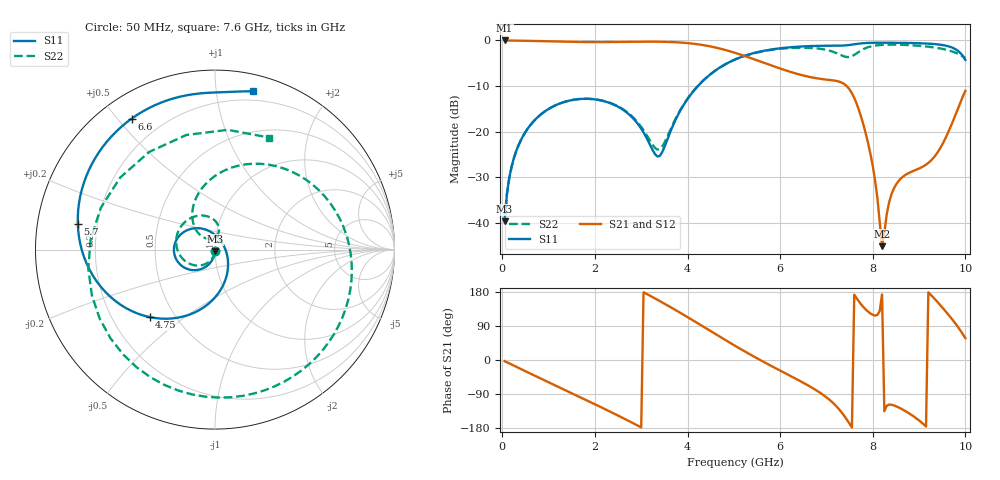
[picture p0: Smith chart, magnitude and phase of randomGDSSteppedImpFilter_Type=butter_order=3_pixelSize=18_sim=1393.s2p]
! freq	dB(S11)	phase(S11)	dB(S12)	phase(S12)
!  dB(S21)	phase(S21)	dB(S22)	phase(S22)
!S-par simulation data
#  GHz  S  DB  R 50
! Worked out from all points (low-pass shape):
!   200 points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, 50 MHz to 10 GHz, reference 50 ohm
!   highest |S21| = -0.01 dB at 50 MHz (marker M1); lowest = -45.2 dB at 8.2 GHz (marker M2)
!   |S21| within 3 dB of the highest: start of sweep to 5.114 GHz
!   lowest |S11| = -39.7 dB at 50 MHz (marker M3), VSWR 1.02, Z = 50 - j1.04 ohm
!   |S11| at or under -10 dB: start of sweep to 4.224 GHz
!   |S22| runs from -39.7 to -0.9 dB; largest |S21 - S12| = 0
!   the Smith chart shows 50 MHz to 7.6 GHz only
!   S11 on the Smith chart (normalised r, x): 50 MHz: 1.00, -0.02; 4.75 GHz: 0.36, -0.38; 5.7 GHz: 0.13, +0.09; 6.6 GHz: 0.09, +0.55; 7.6 GHz: 0.13, +1.26
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0.05  -39.69 -91.1  -0.01 -3.0  -0.01 -3.0  -39.69 -92.0
0.2  -27.74 -100.1  -0.03 -11.9  -0.03 -11.9  -27.76 -103.6
0.5  -20.09 -115.6  -0.08 -29.6  -0.08 -29.6  -20.11 -124.5
1.75  -12.82 -177.0  -0.36 -102.2  -0.36 -102.2  -12.81 151.3
2.7  -15.92 131.8  -0.31 -158.9  -0.31 -158.9  -15.78 90.6
3.4  -25.34 15.5  -0.29 155.6  -0.29 155.6  -23.87 110.7
4.1  -11.48 -90.0  -0.69 105.9  -0.69 105.9  -11.45 117.1
4.75  -5.62 -134.1  -1.92 57.6  -1.92 57.6  -5.63 66.2
5.05  -4.07 -152.9  -2.80 35.7  -2.80 35.7  -4.09 41.6
5.7  -2.18 169.2  -5.10 -8.7  -5.10 -8.7  -2.24 -9.1
6.6  -1.26 122.4  -7.94 -66.9  -7.94 -66.9  -1.63 -79.4
6.7  -1.22 117.5  -8.15 -74.0  -8.15 -74.0  -1.67 -88.7
7.05  -1.17 100.7  -8.66 -103.4  -8.66 -103.4  -2.20 -131.4
7.3  -1.15 89.5  -9.14 -134.0  -9.14 -134.0  -3.16 175.1
7.5  -1.00 81.0  -10.78 -168.5  -10.78 -168.5  -3.63 104.1
7.6  -0.85 76.4  -12.61 172.4  -12.61 172.4  -3.18 64.3
7.85  -0.57 63.2  -20.49 133.1  -20.49 133.1  -1.67 -10.3
8.2  -0.50 44.3  -45.16 172.9  -45.16 172.9  -0.99 -64.8
8.35  -0.51 36.3  -35.64 -117.7  -35.64 -117.7  -0.93 -80.6
8.8  -0.56 11.7  -28.99 -142.0  -28.99 -142.0  -1.04 -119.5
9.35  -0.81 -22.2  -25.28 159.5  -25.28 159.5  -1.58 -167.3
10  -4.27 -90.1  -11.08 57.5  -11.08 57.5  -3.85 110.2
